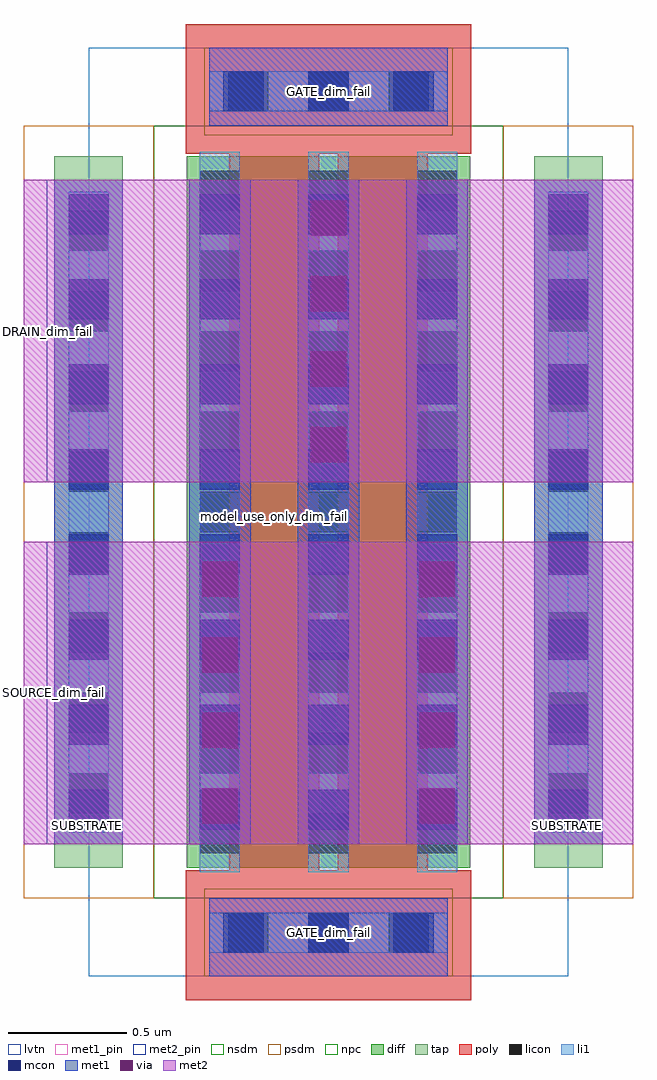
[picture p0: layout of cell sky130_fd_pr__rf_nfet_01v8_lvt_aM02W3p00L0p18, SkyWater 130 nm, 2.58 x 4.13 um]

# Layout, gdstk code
import gdstk
lib = gdstk.Library(unit=1e-6, precision=1e-09)
def R(c, l, rs):  # rectangles x0, y0, x1, y1
    for r in rs: c.add(gdstk.rectangle(r[:2], r[2:], *l))
def A(c, l, x, y, w, h, nx, ny, dx, dy):  # array of equal rectangles
    R(c, l, [(x+i*dx, y+j*dy, x+i*dx+w, y+j*dy+h) for i in range(nx) for j in range(ny)])
def P(c, l, *ps):  # polygons
    for p in ps: c.add(gdstk.Polygon(p, *l))
diff = (65, 20)
tap = (65, 44)
poly = (66, 20)
licon = (66, 44)
li1 = (67, 20)
mcon = (67, 44)
met1_pin = (68, 16)
met1 = (68, 20)
via = (68, 44)
met2_pin = (69, 16)
met2 = (69, 20)
nsdm = (93, 44)
psdm = (94, 20)
npc = (95, 20)
lvtn = (125, 44)

sky130_fd_pr__rf_nfet_01 = lib.new_cell('sky130_fd_pr__rf_nfet_01v8_lvt_aM02W3p00L0p18')
R(sky130_fd_pr__rf_nfet_01, diff, [(0.74,0.51,1.94,3.52)])
R(sky130_fd_pr__rf_nfet_01, tap, [(0.18,0.51,0.47,3.52), (2.21,0.51,2.5,3.52)])
P(sky130_fd_pr__rf_nfet_01, poly, [(0.735,-0.05),(0.735,0.5),(0.92,0.5),(0.92,3.53),(1.3,3.53),(1.3,0.5),(1.38,0.5),(1.38,3.53),(0.735,3.53),(0.735,4.08),(1.945,4.08),(1.945,3.53),(1.76,3.53),(1.76,0.5),(1.945,0.5),(1.945,-0.05)])
A(sky130_fd_pr__rf_nfet_01, licon, 0.915, 0.15, 0.17, 0.17, 3, 2, 0.34, 3.56)
A(sky130_fd_pr__rf_nfet_01, licon, 0.795, 0.57, 0.17, 0.17, 3, 9, 0.46, 0.34)
A(sky130_fd_pr__rf_nfet_01, licon, 0.24, 0.74, 0.17, 0.17, 1, 8, 0, 0.34)
A(sky130_fd_pr__rf_nfet_01, licon, 2.27, 0.74, 0.17, 0.17, 1, 8, 0, 0.34)
A(sky130_fd_pr__rf_nfet_01, li1, 0.795, 0.49, 0.17, 3.05, 3, 1, 0.46, 0)
A(sky130_fd_pr__rf_nfet_01, li1, 0.795, 0.67, 0.17, 2.69, 3, 1, 0.46, 0)
R(sky130_fd_pr__rf_nfet_01, li1, [(0.835,0.15,1.845,0.32), (0.895,0.15,1.785,0.32), (0.24,0.66,0.41,3.37), (2.27,0.66,2.44,3.37), (0.24,0.67,0.41,3.36), (2.27,0.67,2.44,3.36), (0.835,3.71,1.845,3.88), (0.895,3.71,1.785,3.88)])
A(sky130_fd_pr__rf_nfet_01, mcon, 0.895, 0.15, 0.17, 0.17, 3, 2, 0.36, 3.56)
A(sky130_fd_pr__rf_nfet_01, mcon, 0.24, 0.67, 0.17, 0.17, 1, 8, 0, 0.36)
A(sky130_fd_pr__rf_nfet_01, mcon, 0.795, 0.67, 0.17, 0.17, 3, 8, 0.46, 0.36)
A(sky130_fd_pr__rf_nfet_01, mcon, 2.27, 0.67, 0.17, 0.17, 1, 8, 0, 0.36)
R(sky130_fd_pr__rf_nfet_01, met1_pin, [(0.835,0.05,1.845,0.38), (0.18,0.61,0.47,0.69), (2.21,0.61,2.5,0.69), (0.835,3.65,1.845,3.98)])
A(sky130_fd_pr__rf_nfet_01, met1, 0.75, 0.61, 0.26, 2.81, 3, 1, 0.46, 0)
R(sky130_fd_pr__rf_nfet_01, met1, [(0.835,0.05,1.845,0.38), (0.18,0.61,0.47,3.42), (0.75,0.61,1.01,1.89), (1.67,0.61,1.93,1.89), (2.21,0.61,2.5,3.42), (1.21,2.14,1.47,3.42), (0.835,3.65,1.845,3.98)])
A(sky130_fd_pr__rf_nfet_01, via, 0.805, 0.695, 0.15, 0.15, 1, 4, 0, 0.32)
A(sky130_fd_pr__rf_nfet_01, via, 1.725, 0.695, 0.15, 0.15, 1, 4, 0, 0.32)
A(sky130_fd_pr__rf_nfet_01, via, 1.265, 2.225, 0.15, 0.15, 1, 4, 0, 0.32)
R(sky130_fd_pr__rf_nfet_01, met2_pin, [(0.05,0.61,0.15,1.89), (0.05,2.14,0.15,3.42)])
R(sky130_fd_pr__rf_nfet_01, met2, [(0.05,0.61,2.63,1.89), (0.75,0.61,1.01,1.89), (1.67,0.61,1.93,1.89), (0.05,2.14,2.63,3.42), (1.21,2.14,1.47,3.42)])
R(sky130_fd_pr__rf_nfet_01, nsdm, [(0.6,0.38,2.08,3.65)])
R(sky130_fd_pr__rf_nfet_01, psdm, [(0.05,0.38,0.6,3.65), (2.08,0.38,2.63,3.65)])
R(sky130_fd_pr__rf_nfet_01, npc, [(0.815,0.05,1.865,0.42), (0.815,3.61,1.865,3.98)])
R(sky130_fd_pr__rf_nfet_01, lvtn, [(0.325,0.05,2.355,3.98)])
sky130_fd_pr__rf_nfet_01.add(gdstk.Label('model_use_only_dim_fail', (1.11,1.995), layer=66, texttype=83))
sky130_fd_pr__rf_nfet_01.add(gdstk.Label('model_use_only_dim_fail', (1.57,1.995), layer=66, texttype=83))
sky130_fd_pr__rf_nfet_01.add(gdstk.Label('DRAIN_dim_fail', (0.15,2.78), layer=69, texttype=5))
sky130_fd_pr__rf_nfet_01.add(gdstk.Label('SOURCE_dim_fail', (0.15,1.25), layer=69, texttype=5))
sky130_fd_pr__rf_nfet_01.add(gdstk.Label('GATE_dim_fail', (1.34,3.795), layer=68, texttype=5))
sky130_fd_pr__rf_nfet_01.add(gdstk.Label('GATE_dim_fail', (1.34,0.235), layer=68, texttype=5))
sky130_fd_pr__rf_nfet_01.add(gdstk.Label('SUBSTRATE', (0.32,0.69), layer=68, texttype=5))
sky130_fd_pr__rf_nfet_01.add(gdstk.Label('SUBSTRATE', (2.35,0.69), layer=68, texttype=5))

lib.write_gds('sky130_fd_pr__rf_nfet_01v8_lvt_aM02W3p00L0p18.gds')
